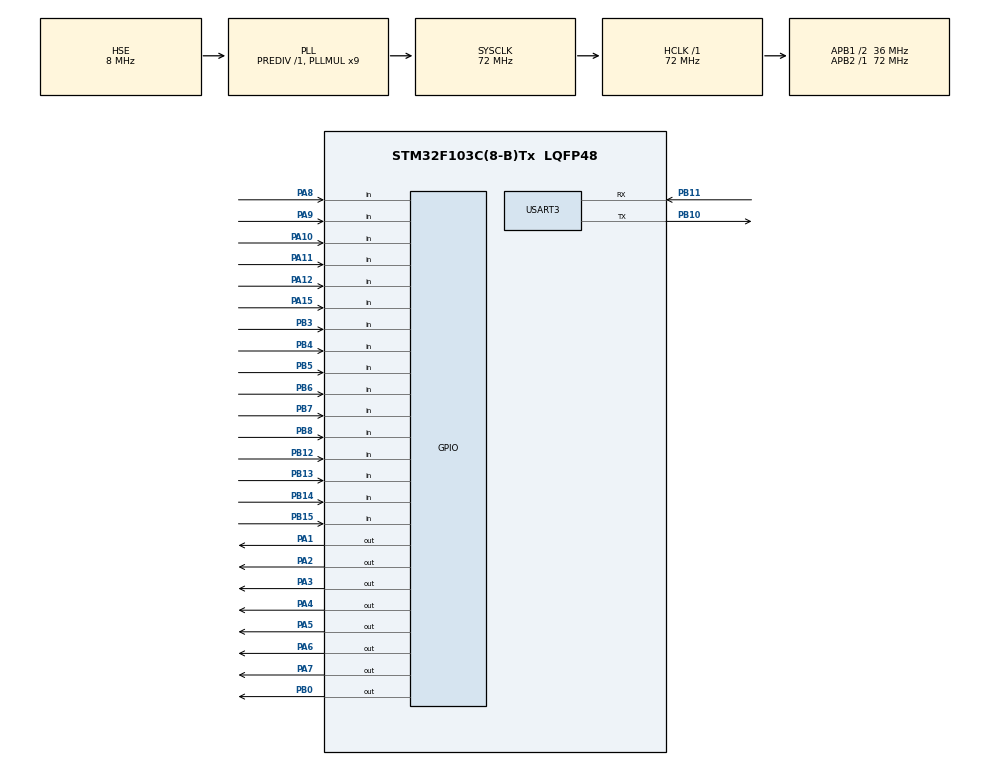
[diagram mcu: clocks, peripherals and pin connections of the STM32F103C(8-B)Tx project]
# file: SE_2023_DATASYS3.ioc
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Mcu.Family=STM32F1
Mcu.Name=STM32F103C(8-B)Tx
Mcu.Package=LQFP48
NVIC.PriorityGroup=NVIC_PRIORITYGROUP_4
NVIC.TIM3_IRQn=true\:0\:0\:false\:false\:true\:true\:true\:true
NVIC.USART3_IRQn=true\:0\:0\:false\:false\:true\:true\:true\:true
PA1.GPIO_PuPd=GPIO_PULLDOWN
PA1.Signal=GPIO_Output
PA10.GPIO_PuPd=GPIO_PULLDOWN
PA10.Signal=GPIO_Input
PA11.GPIO_PuPd=GPIO_PULLDOWN
PA11.Signal=GPIO_Input
PA12.GPIO_PuPd=GPIO_PULLUP
PA12.Signal=GPIO_Input
PA13.Mode=Serial_Wire
PA13.Signal=SYS_JTMS-SWDIO
PA14.Mode=Serial_Wire
PA14.Signal=SYS_JTCK-SWCLK
PA15.GPIO_PuPd=GPIO_PULLDOWN
PA15.Signal=GPIO_Input
PA2.GPIO_PuPd=GPIO_PULLDOWN
PA2.Signal=GPIO_Output
PA3.GPIO_PuPd=GPIO_PULLDOWN
PA3.Signal=GPIO_Output
PA4.GPIO_PuPd=GPIO_PULLDOWN
PA4.Signal=GPIO_Output
PA5.GPIO_PuPd=GPIO_PULLDOWN
PA5.Signal=GPIO_Output
PA6.GPIO_PuPd=GPIO_PULLDOWN
PA6.Signal=GPIO_Output
PA7.GPIO_PuPd=GPIO_PULLDOWN
PA7.Signal=GPIO_Output
PA8.GPIO_PuPd=GPIO_PULLDOWN
PA8.Signal=GPIO_Input
PA9.GPIO_PuPd=GPIO_PULLDOWN
PA9.Signal=GPIO_Input
PB0.GPIO_PuPd=GPIO_PULLDOWN
PB0.Signal=GPIO_Output
PB10.Mode=Asynchronous
PB10.Signal=USART3_TX
PB11.Mode=Asynchronous
PB11.Signal=USART3_RX
PB12.GPIO_PuPd=GPIO_PULLDOWN
PB12.Signal=GPIO_Input
PB13.GPIO_PuPd=GPIO_PULLDOWN
PB13.Signal=GPIO_Input
PB14.GPIO_PuPd=GPIO_PULLDOWN
PB14.Signal=GPIO_Input
PB15.GPIO_PuPd=GPIO_PULLDOWN
PB15.Signal=GPIO_Input
PB3.GPIO_PuPd=GPIO_PULLDOWN
PB3.Signal=GPIO_Input
PB4.GPIO_PuPd=GPIO_PULLDOWN
PB4.Signal=GPIO_Input
PB5.GPIO_PuPd=GPIO_PULLDOWN
PB5.Signal=GPIO_Input
PB6.GPIO_PuPd=GPIO_PULLDOWN
PB6.Signal=GPIO_Input
PB7.GPIO_PuPd=GPIO_PULLDOWN
PB7.Signal=GPIO_Input
PB8.GPIO_PuPd=GPIO_PULLDOWN
PB8.Signal=GPIO_Input
PD0-OSC_IN.Mode=HSE-External-Oscillator
PD0-OSC_IN.Signal=RCC_OSC_IN
PD1-OSC_OUT.Mode=HSE-External-Oscillator
PD1-OSC_OUT.Signal=RCC_OSC_OUT
ProjectManager.HeapSize=0x200
ProjectManager.StackSize=0x400
ProjectManager.TargetToolchain=STM32CubeIDE
RCC.AHBFreq_Value=72000000
RCC.APB1CLKDivider=RCC_HCLK_DIV2
RCC.APB1Freq_Value=36000000
RCC.APB1TimFreq_Value=72000000
RCC.APB2Freq_Value=72000000
RCC.APB2TimFreq_Value=72000000
RCC.HCLKFreq_Value=72000000
RCC.PLLMUL=RCC_PLL_MUL9
RCC.PLLSourceVirtual=RCC_PLLSOURCE_HSE
RCC.SYSCLKFreq_VALUE=72000000
RCC.SYSCLKSource=RCC_SYSCLKSOURCE_PLLCLK
RCC.USBFreq_Value=72000000
TIM3.Period=7199
TIM3.Prescaler=99
USART3.VirtualMode=VM_ASYNC
VP_TIM3_VS_ClockSourceINT.Mode=Internal
board=custom

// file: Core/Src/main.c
/* USER CODE BEGIN Header */
/**
 ******************************************************************************
 * @file           : main.c
 * @brief          : Main program body
 ******************************************************************************
 * @attention
 *
 * Copyright (c) 2023 STMicroelectronics.
 * All rights reserved.
 *
 * This software is licensed under terms that can be found in the LICENSE file
 * in the root directory of this software component.
 * If no LICENSE file comes with this software, it is provided AS-IS.
 *
 ******************************************************************************
 */
/* USER CODE END Header */
#include "main.h"

/* USER CODE BEGIN Includes */
#include "string.h"
#include "keypad_8x16.h"
/* USER CODE END Includes */

/* USER CODE BEGIN PD */

#define LARGO_BUFF 10
#define TIMEOUT 30

/* USER CODE END PD */

TIM_HandleTypeDef htim3;

UART_HandleTypeDef huart3;

/* USER CODE BEGIN PV */

volatile uint8_t tecla = 0, nueva_tecla = 0, flanco = 0, contimer = 0,
		flag_chequeo = 0, indice = 0, flag_config = 0, flag_salir = 0,
		buffer[LARGO_BUFF], caracter[1];
volatile int8_t comparador = 0;
volatile uint8_t matriz_teclas[129] = { 0, 0, 0, '0', 0, 0, 0, 0, 0, 0, '9',
		'8', '7', '4', '3', '2', '1', 0, 0, 0, 0, 0, 0, 0, 0, 0, 0, 0, '6', '5',
		0, 0, 0, 0, 0, 0, 0, 0, 0, 0, 0, 0, 0, 0, 'N', 'B', 0, 0, 0, 0, 0, '=',
		'\n', 0, 0, 0, 0, 0, '.', ',', 'M', 'V', 'C', 'X', 'Z', 0, 0, 0, 0, 0,
		' ', 0, 0, 0, 0, 0, 'H', 'G', 0, 0, 0, 0, 0, ';', 0, 0, 0, 0, 0, 0, 'L',
		'K', 'J', 'F', 'D', 'S', 'A', 0, 0, 0, 0, 0, 0, 0, 0, 0, 0, 0, 'Y', 'T',
		0, 0, '\t', 0, 0, 'P', 0, 0, 0, 0, 0, 0, 'O', 'I', 'U', 'R', 'E', 'W',
		'Q' };

typedef enum {
	ESCRIBIENDO, SETEO, REBOTES_SET, REBOTES_ESC
} estado_t;
estado_t actual = ESCRIBIENDO;

typedef enum {
	evt_presion_tecla,
	evt_timeout_rebotes,
	evt_chequeo_rebotes,
	evt_uart_configurar,
	evt_uart_salir,
	evt_timeout_seteo,
	evt_null,
} evento_t;
evento_t evento = evt_null;

/* USER CODE END PV */

void SystemClock_Config(void);
static void MX_GPIO_Init(void);
static void MX_TIM3_Init(void);
static void MX_USART3_UART_Init(void);
/* USER CODE BEGIN PFP */
void leer_comando(volatile uint8_t*, uint8_t);
// uint8_t interpretar_comando(volatile uint8_t*);
void enviar_caracter(void);
void asignar_caracter(void);
void fsm_DATASYS3(estado_t*, evento_t);
/* USER CODE END PFP */

int main(void) {

	/* MCU Configuration--------------------------------------------------------*/

	/* Reset of all peripherals, Initializes the Flash interface and the Systick. */
	HAL_Init();

	/* Configure the system clock */
	SystemClock_Config();

	/* Initialize all configured peripherals */
	MX_GPIO_Init();
	MX_TIM3_Init();
	MX_USART3_UART_Init();
	/* USER CODE BEGIN 2 */

	HAL_TIM_Base_Start_IT(&htim3);
	HAL_UART_Receive_IT(&huart3, (uint8_t*) buffer + indice, 1);

	keypad_init();
	HAL_UART_Transmit(&huart3,
			(uint8_t*) "El estado actual es de ESCRITURA mediante el DATASYS3\r\n",
			strlen("El estado actual es de ESCRITURA mediante el DATASYS3\r\n"),
			HAL_MAX_DELAY);
	HAL_UART_Transmit(&huart3,
			(uint8_t*) "(Si desea configurar alguna tecla, ingrese el comando \"conf\" por UART)\r\n",
			strlen(
					"(Si desea configurar alguna tecla, ingrese el comando \"conf\" por UART)\r\n"),
			HAL_MAX_DELAY);
	/* USER CODE END 2 */

	/* Infinite loop */
	/* USER CODE BEGIN WHILE */
	while (1) {

		evento = evt_null;

		if (contimer > (TIMEOUT * 50)) {
			HAL_UART_Transmit(&huart3,
					(uint8_t*) "El estado actual es de ESCRITURA mediante el DATASYS3\r\n",
					strlen(
							"El estado actual es de ESCRITURA mediante el DATASYS3\r\n"),
					HAL_MAX_DELAY);
			HAL_UART_Transmit(&huart3,
					(uint8_t*) "(Si desea configurar alguna tecla, ingrese el comando \"conf\" por UART)\r\n",
					strlen(
							"(Si desea configurar alguna tecla, ingrese el comando \"conf\" por UART)\r\n"),
					HAL_MAX_DELAY);
			evento = evt_timeout_seteo;
			flag_chequeo = 0;
			contimer = 0;
		}

		else if (contimer > TIMEOUT) {
			evento = evt_timeout_rebotes;
			flag_chequeo = 0;
			contimer = 0;
		}

		else if (flag_chequeo == 1) {
			evento = evt_chequeo_rebotes;
			nueva_tecla = detector();
			flanco = 0;
		}

		else if ((tecla = detector()) != 0) {
			evento = evt_presion_tecla;
			contimer = 0;
		}

		if (flag_salir == 1) {
			evento = evt_uart_salir;
			flag_salir = 0;
		}

		if (flag_config == 1) {
			evento = evt_uart_configurar;
			flag_config = 0;
		}

		fsm_DATASYS3(&actual, evento);

		/* USER CODE END WHILE */

	}
}

void SystemClock_Config(void) {
	RCC_OscInitTypeDef RCC_OscInitStruct = { 0 };
	RCC_ClkInitTypeDef RCC_ClkInitStruct = { 0 };

	/** Initializes the RCC Oscillators according to the specified parameters
	 * in the RCC_OscInitTypeDef structure.
	 */
	RCC_OscInitStruct.OscillatorType = RCC_OSCILLATORTYPE_HSE;
	RCC_OscInitStruct.HSEState = RCC_HSE_ON;
	RCC_OscInitStruct.HSEPredivValue = RCC_HSE_PREDIV_DIV1;
	RCC_OscInitStruct.HSIState = RCC_HSI_ON;
	RCC_OscInitStruct.PLL.PLLState = RCC_PLL_ON;
	RCC_OscInitStruct.PLL.PLLSource = RCC_PLLSOURCE_HSE;
	RCC_OscInitStruct.PLL.PLLMUL = RCC_PLL_MUL9;
	if (HAL_RCC_OscConfig(&RCC_OscInitStruct) != HAL_OK) {
		Error_Handler();
	}

	/** Initializes the CPU, AHB and APB buses clocks
	 */
	RCC_ClkInitStruct.ClockType = RCC_CLOCKTYPE_HCLK | RCC_CLOCKTYPE_SYSCLK
			| RCC_CLOCKTYPE_PCLK1 | RCC_CLOCKTYPE_PCLK2;
	RCC_ClkInitStruct.SYSCLKSource = RCC_SYSCLKSOURCE_PLLCLK;
	RCC_ClkInitStruct.AHBCLKDivider = RCC_SYSCLK_DIV1;
	RCC_ClkInitStruct.APB1CLKDivider = RCC_HCLK_DIV2;
	RCC_ClkInitStruct.APB2CLKDivider = RCC_HCLK_DIV1;

	if (HAL_RCC_ClockConfig(&RCC_ClkInitStruct, FLASH_LATENCY_2) != HAL_OK) {
		Error_Handler();
	}
}

static void MX_TIM3_Init(void) {

	TIM_ClockConfigTypeDef sClockSourceConfig = { 0 };
	TIM_MasterConfigTypeDef sMasterConfig = { 0 };

	htim3.Instance = TIM3;
	htim3.Init.Prescaler = 99;
	htim3.Init.CounterMode = TIM_COUNTERMODE_UP;
	htim3.Init.Period = 7199;
	htim3.Init.ClockDivision = TIM_CLOCKDIVISION_DIV1;
	htim3.Init.AutoReloadPreload = TIM_AUTORELOAD_PRELOAD_DISABLE;
	if (HAL_TIM_Base_Init(&htim3) != HAL_OK) {
		Error_Handler();
	}
	sClockSourceConfig.ClockSource = TIM_CLOCKSOURCE_INTERNAL;
	if (HAL_TIM_ConfigClockSource(&htim3, &sClockSourceConfig) != HAL_OK) {
		Error_Handler();
	}
	sMasterConfig.MasterOutputTrigger = TIM_TRGO_RESET;
	sMasterConfig.MasterSlaveMode = TIM_MASTERSLAVEMODE_DISABLE;
	if (HAL_TIMEx_MasterConfigSynchronization(&htim3, &sMasterConfig)
			!= HAL_OK) {
		Error_Handler();
	}

}

static void MX_USART3_UART_Init(void) {

	huart3.Instance = USART3;
	huart3.Init.BaudRate = 115200;
	huart3.Init.WordLength = UART_WORDLENGTH_8B;
	huart3.Init.StopBits = UART_STOPBITS_1;
	huart3.Init.Parity = UART_PARITY_NONE;
	huart3.Init.Mode = UART_MODE_TX_RX;
	huart3.Init.HwFlowCtl = UART_HWCONTROL_NONE;
	huart3.Init.OverSampling = UART_OVERSAMPLING_16;
	if (HAL_UART_Init(&huart3) != HAL_OK) {
		Error_Handler();
	}

}

static void MX_GPIO_Init(void) {
	GPIO_InitTypeDef GPIO_InitStruct = { 0 };

	/* GPIO Ports Clock Enable */
	__HAL_RCC_GPIOD_CLK_ENABLE();
	__HAL_RCC_GPIOA_CLK_ENABLE();
	__HAL_RCC_GPIOB_CLK_ENABLE();

	/*Configure GPIO pin Output Level */
	HAL_GPIO_WritePin(GPIOA,
			GPIO_PIN_1 | GPIO_PIN_2 | GPIO_PIN_3 | GPIO_PIN_4 | GPIO_PIN_5
					| GPIO_PIN_6 | GPIO_PIN_7, GPIO_PIN_RESET);

	/*Configure GPIO pin Output Level */
	HAL_GPIO_WritePin(GPIOB, GPIO_PIN_0, GPIO_PIN_RESET);

	/*Configure GPIO pins : PA1 PA2 PA3 PA4
	 PA5 PA6 PA7 */
	GPIO_InitStruct.Pin = GPIO_PIN_1 | GPIO_PIN_2 | GPIO_PIN_3 | GPIO_PIN_4
			| GPIO_PIN_5 | GPIO_PIN_6 | GPIO_PIN_7;
	GPIO_InitStruct.Mode = GPIO_MODE_OUTPUT_PP;
	GPIO_InitStruct.Pull = GPIO_PULLDOWN;
	GPIO_InitStruct.Speed = GPIO_SPEED_FREQ_LOW;
	HAL_GPIO_Init(GPIOA, &GPIO_InitStruct);

	/*Configure GPIO pin : PB0 */
	GPIO_InitStruct.Pin = GPIO_PIN_0;
	GPIO_InitStruct.Mode = GPIO_MODE_OUTPUT_PP;
	GPIO_InitStruct.Pull = GPIO_PULLDOWN;
	GPIO_InitStruct.Speed = GPIO_SPEED_FREQ_LOW;
	HAL_GPIO_Init(GPIOB, &GPIO_InitStruct);

	/*Configure GPIO pins : PB12 PB13 PB14 PB15
	 PB3 PB4 PB5 PB6
	 PB7 PB8 */
	GPIO_InitStruct.Pin = GPIO_PIN_12 | GPIO_PIN_13 | GPIO_PIN_14 | GPIO_PIN_15
			| GPIO_PIN_3 | GPIO_PIN_4 | GPIO_PIN_5 | GPIO_PIN_6 | GPIO_PIN_7
			| GPIO_PIN_8;
	GPIO_InitStruct.Mode = GPIO_MODE_INPUT;
	GPIO_InitStruct.Pull = GPIO_PULLDOWN;
	HAL_GPIO_Init(GPIOB, &GPIO_InitStruct);

	/*Configure GPIO pins : PA8 PA9 PA10 PA11
	 PA15 */
	GPIO_InitStruct.Pin = GPIO_PIN_8 | GPIO_PIN_9 | GPIO_PIN_10 | GPIO_PIN_11
			| GPIO_PIN_15;
	GPIO_InitStruct.Mode = GPIO_MODE_INPUT;
	GPIO_InitStruct.Pull = GPIO_PULLDOWN;
	HAL_GPIO_Init(GPIOA, &GPIO_InitStruct);

	/*Configure GPIO pin : PA12 */
	GPIO_InitStruct.Pin = GPIO_PIN_12;
	GPIO_InitStruct.Mode = GPIO_MODE_INPUT;
	GPIO_InitStruct.Pull = GPIO_PULLUP;
	HAL_GPIO_Init(GPIOA, &GPIO_InitStruct);

}

/* USER CODE BEGIN 4 */

void fsm_DATASYS3(estado_t *actual, evento_t evento) {

	switch (*actual) {

	case SETEO:
		switch (evento) {

		case evt_presion_tecla:
			flag_chequeo = 1;
			*actual = REBOTES_SET;
			break;

		case evt_uart_salir:
			HAL_UART_Transmit(&huart3,
					(uint8_t*) "El estado actual es de ESCRITURA mediante el DATASYS3\r\n",
					strlen(
							"El estado actual es de ESCRITURA mediante el DATASYS3\r\n"),
					HAL_MAX_DELAY);
			HAL_UART_Transmit(&huart3,
					(uint8_t*) "(Si desea configurar alguna tecla, ingrese el comando \"conf\" por UART)\r\n",
					strlen(
							"(Si desea configurar alguna tecla, ingrese el comando \"conf\" por UART)\r\n"),
					HAL_MAX_DELAY);
			*actual = ESCRIBIENDO;
			break;

		case evt_timeout_seteo:
			HAL_UART_Transmit(&huart3,
					(uint8_t*) "El estado actual es de ESCRITURA mediante el DATASYS3\r\n",
					strlen(
							"El estado actual es de ESCRITURA mediante el DATASYS3\r\n"),
					HAL_MAX_DELAY);
			HAL_UART_Transmit(&huart3,
					(uint8_t*) "(Si desea configurar alguna tecla, ingrese el comando \"conf\" por UART)\r\n",
					strlen(
							"(Si desea configurar alguna tecla, ingrese el comando \"conf\" por UART)\r\n"),
					HAL_MAX_DELAY);
			*actual = ESCRIBIENDO;
			break;

		default:
			break;
		}

		break;

	case ESCRIBIENDO:

		switch (evento) {

		case evt_presion_tecla:
			flag_chequeo = 1;
			*actual = REBOTES_ESC;
			break;

		case evt_uart_configurar:
			HAL_UART_Transmit(&huart3,
					(uint8_t*) "Presione la tecla a configurar o envíe el comando \"salir\" para volver al estado de escritura\r\n",
					strlen(
							"Presione la tecla a configurar o envíe el comando \"salir\" para volver al estado de escritura\r\n"),
					HAL_MAX_DELAY);
			*actual = SETEO;
			break;

		default:
			break;
		}

		break;

	case REBOTES_SET:
		switch (evento) {

		case evt_chequeo_rebotes:

			if (nueva_tecla == tecla) {
				comparador++;
			} else {
				comparador--;
			}
			break;

		case evt_timeout_rebotes:

			if (comparador > 0) {
				asignar_caracter();
				HAL_UART_Transmit(&huart3, (uint8_t*) "Tecla reconfigurada\r\n",
						strlen("Tecla reconfigurada\r\n"), HAL_MAX_DELAY);
				HAL_UART_Transmit(&huart3,
						(uint8_t*) "Presione la próxima tecla a configurar o envíe el comando \"salir\" para volver al estado de escritura\r\n",
						strlen(
								"Presione la próxima tecla a configurar o envíe el comando \"salir\" para volver al estado de escritura\r\n"),
						HAL_MAX_DELAY);
			}
			comparador = 0;
			*actual = SETEO;
			break;

		default:
			break;
		}
		break;

	case REBOTES_ESC:
		switch (evento) {

		case evt_chequeo_rebotes:

			if (nueva_tecla == tecla) {
				comparador++;
			} else {
				comparador--;
			}

			break;

		case evt_timeout_rebotes:
			if (comparador > 0) {
				enviar_caracter();
			}
			comparador = 0;
			*actual = ESCRIBIENDO;
			break;

		default:
			break;
		}
		break;

	default:
		break;
	}

}

void leer_comando(volatile uint8_t *b, uint8_t MAX) {
	HAL_UART_AbortReceive_IT(&huart3);
	uint8_t i = 0, comando_recibido = 0;
	while (!comando_recibido) {
		HAL_UART_Receive(&huart3, (uint8_t*) b + i, 1, HAL_MAX_DELAY);
		HAL_UART_Transmit(&huart3, (uint8_t*) b + i, 1, HAL_MAX_DELAY);
		if (b[i] == '\r' || i == MAX) {
			b[i] = '\0';
			comando_recibido = 1;
		} else {
			i++;
		}
	}
	HAL_UART_Receive_IT(&huart3, (uint8_t*) buffer + indice, 1);
}

void HAL_TIM_PeriodElapsedCallback(TIM_HandleTypeDef *htim) {
	contimer++;
	flanco = 1;
}

void HAL_UART_RxCpltCallback(UART_HandleTypeDef *huart) {

	char c = buffer[indice];
	indice = (indice + 1) % LARGO_BUFF;
	buffer[indice] = '\0';
	if (c == '\r' || c == '\n') {
		if ((strcmp((char*) buffer, "conf\r") == 0)
				|| (strcmp((char*) buffer, "CONF\r") == 0)) {
			flag_config = 1;
		} else if ((strcmp((char*) buffer, "salir\r") == 0)
				|| (strcmp((char*) buffer, "SALIR\r") == 0)) {
			flag_salir = 1;
		}
		indice = 0;
		buffer[indice] = 0;
	}

	HAL_UART_Receive_IT(&huart3, (uint8_t*) buffer + indice, 1);

}

void enviar_caracter() {
	caracter[0] = matriz_teclas[tecla];
	HAL_UART_Transmit(&huart3, (uint8_t*) caracter, 1,
	HAL_MAX_DELAY);
}

void asignar_caracter() {
	HAL_UART_Transmit(&huart3,
			(uint8_t*) "Presione el caracter a designar, seguido de enter\r\n",
			strlen("Presione el caracter a designar, seguido de enter\r\n"),
			HAL_MAX_DELAY);
	leer_comando(caracter, 1);
	matriz_teclas[tecla] = caracter[0];
}

/* USER CODE END 4 */

void Error_Handler(void) {
	__disable_irq();
	while (1) {
	}
}
